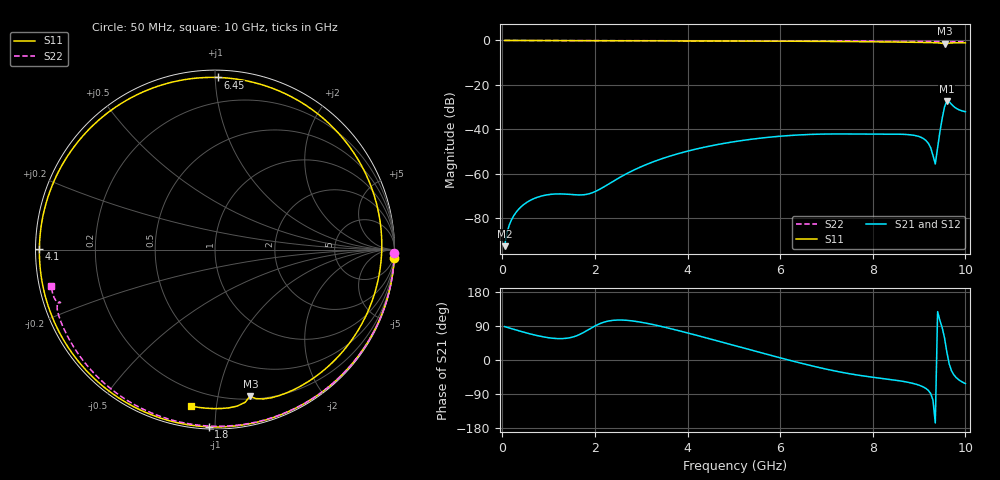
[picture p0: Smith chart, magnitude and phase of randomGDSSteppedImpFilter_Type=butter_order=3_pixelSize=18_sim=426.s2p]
! freq	dB(S11)	phase(S11)	dB(S12)	phase(S12)
!  dB(S21)	phase(S21)	dB(S22)	phase(S22)
!S-par simulation data
#  GHz  S  DB  R 50
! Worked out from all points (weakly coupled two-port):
!   200 points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, 50 MHz to 10 GHz, reference 50 ohm
!   highest |S21| = -27.22 dB at 9.6 GHz (marker M1); lowest = -92.7 dB at 50 MHz (marker M2)
!   lowest |S11| = -1.5 dB at 9.55 GHz (marker M3), VSWR 11.59, Z = 11.1 - j62.3 ohm
!   |S11| at or under -10 dB: nowhere
!   |S22| runs from -0.8 to 0.0 dB; largest |S21 - S12| = 0
!   S11 on the Smith chart (normalised r, x): 50 MHz: 0, -41; 1.8 GHz: 0.01, -0.96; 4.1 GHz: 0.01, +0.00; 6.45 GHz: 0.04, +1.02; 10 GHz: 0.11, -0.85
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0.05  -0.00 -2.8  -92.66 88.2  -92.66 88.2  -0.00 -1.0
0.2  -0.02 -11.1  -80.73 82.7  -80.73 82.7  -0.01 -3.8
0.45  -0.04 -24.8  -74.12 73.8  -74.12 73.8  -0.01 -8.6
0.8  -0.06 -43.4  -70.34 63.2  -70.34 63.2  -0.02 -15.3
1.75  -0.10 -89.8  -69.51 72.3  -69.51 72.3  -0.04 -33.0
1.8  -0.10 -92.1  -69.38 75.7  -69.38 75.7  -0.04 -34.0
2.65  -0.13 -127.4  -60.39 105.0  -60.39 105.0  -0.06 -49.4
3.4  -0.16 -155.5  -53.60 89.6  -53.60 89.6  -0.08 -62.6
4.1  -0.19 179.7  -49.34 68.3  -49.34 68.3  -0.10 -74.6
5.05  -0.24 145.7  -45.46 37.0  -45.46 37.0  -0.14 -90.3
5.8  -0.30 116.8  -43.51 12.2  -43.51 12.2  -0.17 -102.4
6.45  -0.36 89.0  -42.51 -8.4  -42.51 -8.4  -0.21 -112.5
6.7  -0.39 77.5  -42.29 -15.9  -42.29 -15.9  -0.23 -116.4
7.65  -0.53 29.3  -42.15 -39.3  -42.15 -39.3  -0.30 -131.1
8.35  -0.68 -9.7  -42.20 -50.9  -42.20 -50.9  -0.37 -141.9
9.1  -0.89 -52.2  -44.28 -71.7  -44.28 -71.7  -0.45 -153.8
9.25  -0.96 -60.6  -48.29 -88.3  -48.29 -88.3  -0.48 -156.3
9.35  -1.03 -66.3  -55.64 -166.2  -55.64 -166.2  -0.51 -158.1
9.45  -1.16 -72.0  -41.09 104.3  -41.09 104.3  -0.57 -160.0
9.55  -1.50 -76.4  -29.89 57.8  -29.89 57.8  -0.77 -161.5
9.6  -1.48 -76.9  -27.22 20.6  -27.22 20.6  -0.82 -161.1
10  -1.09 -98.7  -32.10 -62.3  -32.10 -62.3  -0.57 -167.6
